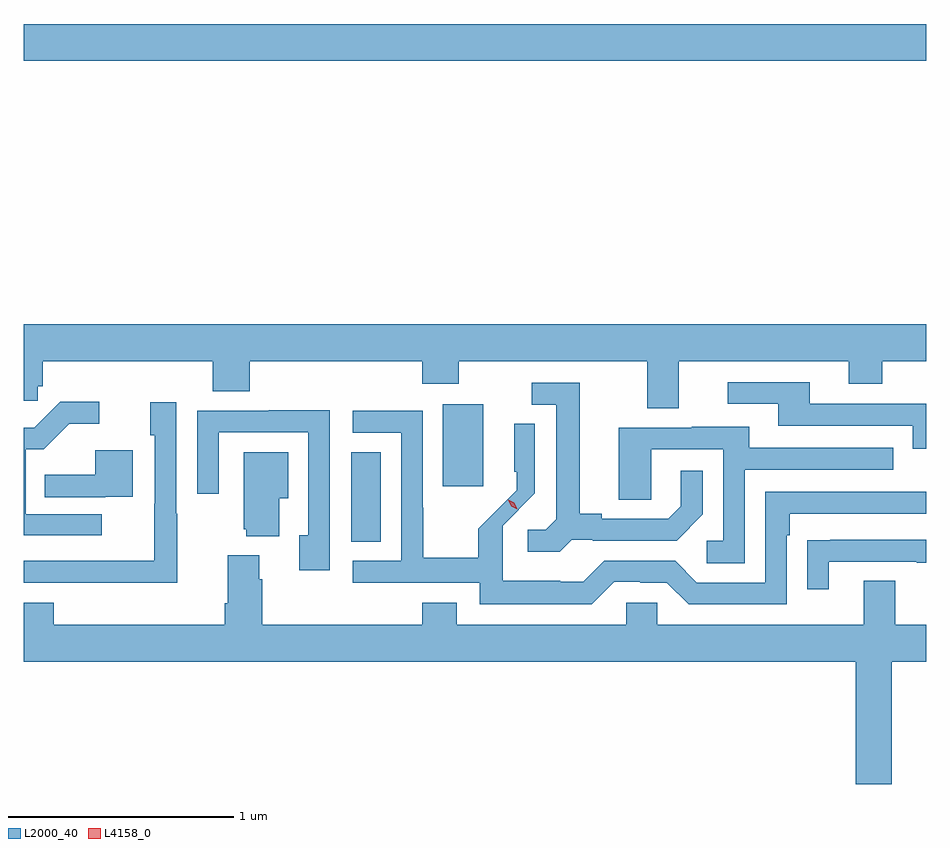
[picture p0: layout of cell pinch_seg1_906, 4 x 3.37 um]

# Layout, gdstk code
import gdstk
lib = gdstk.Library(unit=1e-6, precision=1e-09)
def R(c, l, rs):  # rectangles x0, y0, x1, y1
    for r in rs: c.add(gdstk.rectangle(r[:2], r[2:], *l))
def P(c, l, *ps):  # polygons
    for p in ps: c.add(gdstk.Polygon(p, *l))
L2000_40 = (2000, 40)
L4158_0 = (4158, 0)

pinch_seg1_906 = lib.new_cell('pinch_seg1_906')
R(pinch_seg1_906, L2000_40, [(134.726,536.281,134.857,536.678), (135.131,536.528,135.31,536.89), (133.274,538.412,137.274,538.576)])
P(pinch_seg1_906, L2000_40, [(136.177,537.08),(136.931,537.08),(136.931,536.981),(137.079,536.981),(137.079,537.08),(137.274,537.08),(137.274,537.244),(133.274,537.244),(133.274,536.906),(133.335,536.906),(133.335,536.97),(133.358,536.97),(133.358,537.08),(134.111,537.08),(134.111,536.947),(134.276,536.947),(134.276,537.08),(135.041,537.08),(135.041,536.981),(135.201,536.981),(135.201,537.08),(136.037,537.08),(136.037,536.872),(136.177,536.872)],
  [(137.274,536.892),(136.759,536.892),(136.759,536.988),(136.395,536.988),(136.395,536.892),(136.619,536.892),(136.619,536.796),(137.214,536.796),(137.214,536.693),(137.274,536.693)],
  [(135.702,536.289),(135.796,536.289),(135.796,536.286),(136.168,536.286),(136.284,536.402),(136.284,536.596),(136.187,536.596),(136.187,536.439),(136.13,536.382),(135.835,536.382),(135.835,536.405),(135.739,536.405),(135.739,536.985),(135.525,536.985),(135.525,536.889),(135.635,536.889),(135.635,536.381),(135.588,536.334),(135.507,536.334),(135.507,536.237),(135.65,536.237)],
  [(133.619,536.403),(133.282,536.403),(133.282,536.691),(133.363,536.691),(133.475,536.803),(133.608,536.803),(133.608,536.901),(133.436,536.901),(133.321,536.786),(133.274,536.786),(133.274,536.31),(133.619,536.31)],
  [(133.953,536.405),(133.95,536.405),(133.95,536.899),(133.835,536.899),(133.835,536.754),(133.854,536.754),(133.854,536.45),(133.852,536.45),(133.852,536.196),(133.274,536.196),(133.274,536.1),(133.489,536.1),(133.489,536.099),(133.953,536.099)],
  [(134.631,536.864),(134.359,536.864),(134.359,536.862),(134.043,536.862),(134.043,536.493),(134.139,536.493),(134.139,536.766),(134.535,536.766),(134.535,536.31),(134.495,536.31),(134.495,536.154),(134.631,536.154)],
  [(135.891,536.103),(136.007,536.103),(136.007,536.1),(136.125,536.1),(136.221,536.004),(136.656,536.004),(136.656,536.309),(136.669,536.309),(136.669,536.406),(137.274,536.406),(137.274,536.502),(136.56,536.502),(136.56,536.1),(136.257,536.1),(136.161,536.196),(135.846,536.196),(135.753,536.103),(135.653,536.103),(135.653,536.107),(135.396,536.107),(135.396,536.352),(135.539,536.495),(135.539,536.804),(135.448,536.804),(135.448,536.592),(135.46,536.592),(135.46,536.509),(135.289,536.338),(135.289,536.209),(135.045,536.209),(135.045,536.432),(135.042,536.432),(135.042,536.862),(134.733,536.862),(134.733,536.763),(134.946,536.763),(134.946,536.196),(134.733,536.196),(134.733,536.1),(135.294,536.1),(135.294,536.003),(135.791,536.003)],
  [(136.47,536.601),(137.129,536.601),(137.129,536.697),(136.489,536.697),(136.489,536.791),(136.235,536.791),(136.235,536.787),(135.911,536.787),(135.911,536.467),(136.056,536.467),(136.056,536.691),(136.374,536.691),(136.374,536.286),(136.302,536.286),(136.302,536.185),(136.47,536.185)],
  [(133.634,536.481),(133.756,536.481),(133.756,536.686),(133.591,536.686),(133.591,536.578),(133.367,536.578),(133.367,536.479),(133.634,536.479)],
  [(134.407,536.474),(134.446,536.474),(134.446,536.677),(134.249,536.677),(134.249,536.337),(134.261,536.337),(134.261,536.306),(134.407,536.306)],
  [(136.843,536.193),(137.233,536.193),(137.233,536.188),(137.274,536.188),(137.274,536.289),(136.849,536.289),(136.849,536.288),(136.747,536.288),(136.747,536.07),(136.843,536.07)],
  [(137.121,535.748),(137.274,535.748),(137.274,535.912),(137.137,535.912),(137.137,536.107),(136.997,536.107),(136.997,535.912),(136.083,535.912),(136.083,536.01),(135.945,536.01),(135.945,535.912),(135.193,535.912),(135.193,536.011),(135.041,536.011),(135.041,535.912),(134.33,535.912),(134.33,536.114),(134.317,536.114),(134.317,536.221),(134.177,536.221),(134.177,536.008),(134.165,536.008),(134.165,535.912),(133.406,535.912),(133.406,536.011),(133.274,536.011),(133.274,535.748),(136.961,535.748),(136.961,535.207),(137.121,535.207)])
P(pinch_seg1_906, L4158_0, [(135.462,536.426),(135.435,536.439),(135.421,536.466),(135.421,536.466),(135.422,536.466),(135.449,536.453),(135.462,536.426),(135.462,536.426)])

lib.write_gds('pinch_seg1_906.gds')
